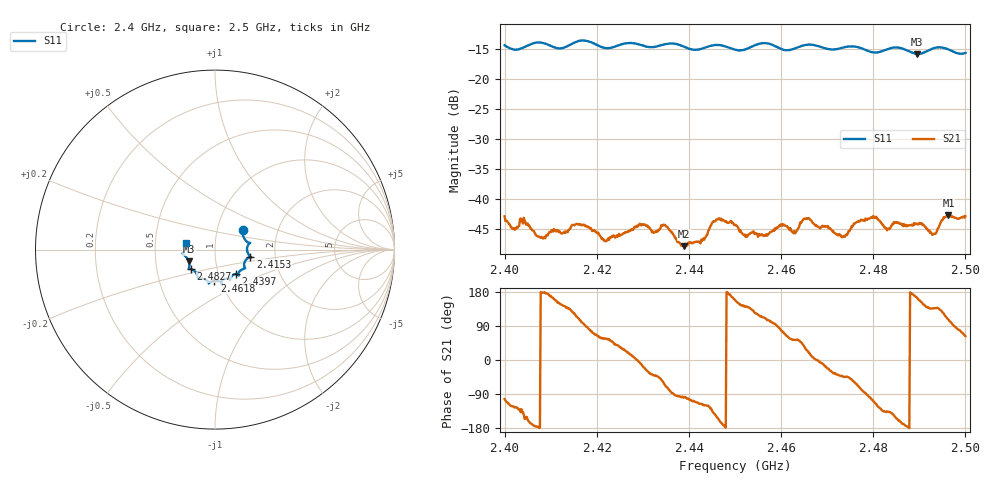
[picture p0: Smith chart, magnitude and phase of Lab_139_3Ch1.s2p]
# Hz S RI R 50
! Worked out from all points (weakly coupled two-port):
!   601 points, 2.4 GHz to 2.5 GHz, reference 50 ohm
!   highest |S21| = -42.66 dB at 2.4963 GHz (marker M1); lowest = -47.8 dB at 2.4388 GHz (marker M2)
!   lowest |S11| = -15.9 dB at 2.4895 GHz (marker M3), VSWR 1.38, Z = 37 - j4.99 ohm
!   |S11| at or under -10 dB: start of sweep to end of sweep
!   S12 and S22 are empty: the file has one direction only
!   S11 on the Smith chart (normalised r, x): 2.4 GHz: 1.33, +0.30; 2.4153 GHz: 1.48, -0.12; 2.4397 GHz: 1.21, -0.34; 2.4618 GHz: 0.94, -0.33; 2.4827 GHz: 0.75, -0.17; 2.5 GHz: 0.72, +0.06
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2.4e9  0.1557 0.1077  -0.00162 -0.007  0 0  0 0
2.408333e9  0.1943 0.0366  -0.00469 0.000166  0 0  0 0
2.415333e9  0.1968 -0.0392  -0.00302 0.00533  0 0  0 0
2.416667e9  0.2027 -0.0434  -0.00109 0.00601  0 0  0 0
2.421833e9  0.1684 -0.0626  0.00248 0.00376  0 0  0 0
2.4295e9  0.1578 -0.108  0.00606 -0.00101  0 0  0 0
2.433333e9  0.1299 -0.1341  0.00399 -0.00385  0 0  0 0
2.438833e9  0.1236 -0.1373  -0.000679 -0.004  0 0  0 0
2.439667e9  0.1166 -0.1363  -0.000868 -0.00401  0 0  0 0
2.446167e9  0.0842 -0.1709  -0.00596 -0.00316  0 0  0 0
2.45e9  0.0644 -0.1618  -0.00564 0.00221  0 0  0 0
2.452333e9  0.0418 -0.1702  -0.00375 0.00306  0 0  0 0
2.461833e9  -0.00308 -0.1727  0.00301 0.00462  0 0  0 0
2.466667e9  -0.0348 -0.1881  0.00647 0.00103  0 0  0 0
2.473333e9  -0.0838 -0.1601  0.00357 -0.00326  0 0  0 0
2.479833e9  -0.1088 -0.1247  -0.00184 -0.00671  0 0  0 0
2.482667e9  -0.1351 -0.1087  -0.0042 -0.00397  0 0  0 0
2.483333e9  -0.1403 -0.1083  -0.00413 -0.0039  0 0  0 0
2.4895e9  -0.1462 -0.0658  -0.00603 0.00161  0 0  0 0
2.493167e9  -0.1774 -0.0256  -0.00371 0.00351  0 0  0 0
2.496333e9  -0.1743 -0.0127  -0.00209 0.00706  0 0  0 0
2.5e9  -0.159 0.0389  0.00326 0.00641  0 0  0 0
